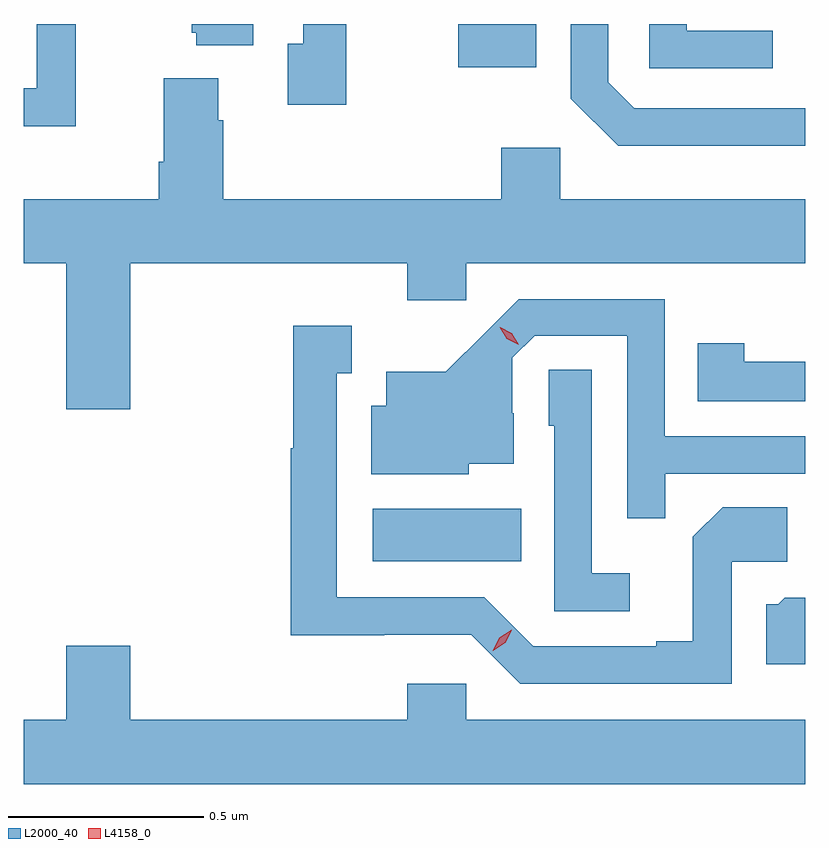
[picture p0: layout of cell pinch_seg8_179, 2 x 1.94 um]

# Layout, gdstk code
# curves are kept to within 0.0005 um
import gdstk
lib = gdstk.Library(unit=1e-6, precision=1e-09)
def R(c, l, rs):  # rectangles x0, y0, x1, y1
    for r in rs: c.add(gdstk.rectangle(r[:2], r[2:], *l))
def P(c, l, *ps):  # polygons
    for p in ps: c.add(gdstk.Polygon(p, *l))
L2000_40 = (2000, 40)
L4158_0 = (4158, 0)

pinch_seg8_179 = lib.new_cell('pinch_seg8_179')
R(pinch_seg8_179, L2000_40, [(633.324,1153.034,633.704,1153.168), (633.543,1154.297,633.742,1154.408)])
P(pinch_seg8_179, L2000_40, [(632.565,1154.408),(632.465,1154.408),(632.465,1154.244),(632.431,1154.244),(632.431,1154.147),(632.565,1154.147)],
  [(633.019,1154.408),(632.861,1154.408),(632.861,1154.385),(632.873,1154.385),(632.873,1154.354),(633.019,1154.354)],
  [(634.431,1154.193),(633.993,1154.193),(633.927,1154.259),(633.927,1154.408),(633.831,1154.408),(633.831,1154.217),(633.952,1154.096),(634.431,1154.096)],
  [(634.348,1154.391),(634.128,1154.391),(634.128,1154.408),(634.032,1154.408),(634.032,1154.295),(634.348,1154.295)],
  [(633.256,1154.408),(633.147,1154.408),(633.147,1154.358),(633.107,1154.358),(633.107,1154.202),(633.256,1154.202)],
  [(632.789,1154.269),(632.789,1154.056),(632.777,1154.056),(632.777,1153.96),(632.431,1153.96),(632.431,1153.796),(632.54,1153.796),(632.54,1153.422),(632.704,1153.422),(632.704,1153.796),(633.413,1153.796),(633.413,1153.701),(633.564,1153.701),(633.564,1153.796),(634.431,1153.796),(634.431,1153.96),(633.804,1153.96),(633.804,1154.092),(633.653,1154.092),(633.653,1153.96),(632.942,1153.96),(632.942,1154.162),(632.929,1154.162),(632.929,1154.269)],
  [(634.073,1153.257),(634.431,1153.257),(634.431,1153.353),(634.071,1153.353),(634.071,1153.704),(633.698,1153.704),(633.511,1153.519),(633.359,1153.519),(633.359,1153.432),(633.32,1153.432),(633.32,1153.256),(633.57,1153.256),(633.57,1153.283),(633.685,1153.283),(633.685,1153.412),(633.681,1153.412),(633.681,1153.554),(633.738,1153.611),(633.975,1153.611),(633.975,1153.144),(634.073,1153.144)],
  [(634.242,1153.032),(634.384,1153.032),(634.384,1153.172),(634.219,1153.172),(634.143,1153.096),(634.143,1152.829),(634.049,1152.829),(634.049,1152.816),(633.735,1152.816),(633.609,1152.942),(633.232,1152.942),(633.232,1153.515),(633.271,1153.515),(633.271,1153.636),(633.121,1153.636),(633.121,1153.323),(633.114,1153.323),(633.114,1152.845),(633.354,1152.845),(633.354,1152.846),(633.576,1152.846),(633.702,1152.72),(634.242,1152.72)],
  [(634.431,1153.544),(634.275,1153.544),(634.275,1153.591),(634.156,1153.591),(634.156,1153.443),(634.431,1153.443)],
  [(633.982,1153.003),(633.885,1153.003),(633.885,1153.523),(633.774,1153.523),(633.774,1153.38),(633.789,1153.38),(633.789,1152.906),(633.982,1152.906)],
  [(634.431,1152.94),(634.378,1152.94),(634.362,1152.924),(634.331,1152.924),(634.331,1152.77),(634.431,1152.77)],
  [(634.431,1152.628),(633.564,1152.628),(633.564,1152.721),(633.413,1152.721),(633.413,1152.628),(632.704,1152.628),(632.704,1152.817),(632.54,1152.817),(632.54,1152.628),(632.431,1152.628),(632.431,1152.464),(634.431,1152.464)])
P(pinch_seg8_179, L4158_0, [(633.698,1153.588),(633.667,1153.603),(633.649,1153.632),(633.649,1153.632),(633.65,1153.632),(633.68,1153.617),(633.698,1153.588),(633.698,1153.588)],
  [(633.631,1152.805),(633.631,1152.805),(633.648,1152.838),(633.68,1152.858),(633.68,1152.858),(633.68,1152.857),(633.663,1152.825),(633.632,1152.805)])

lib.write_gds('pinch_seg8_179.gds')
